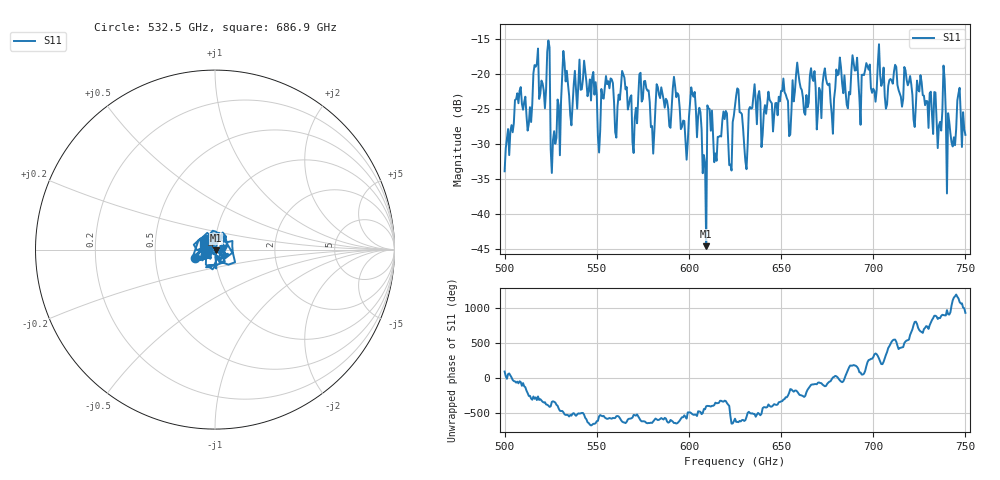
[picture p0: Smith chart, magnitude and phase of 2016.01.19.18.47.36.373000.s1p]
!Created with skrf (http://scikit-rf.org).
# GHz S RI R 50.0
!freq ReS11 ImS11
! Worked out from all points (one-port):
!   401 points, 500 GHz to 750 GHz, reference 50 ohm
!   lowest |S11| = -44.6 dB at 609.4 GHz (marker M1), VSWR 1.01, Z = 50.4 - j0.402 ohm
!   |S11| at or under -10 dB: start of sweep to end of sweep
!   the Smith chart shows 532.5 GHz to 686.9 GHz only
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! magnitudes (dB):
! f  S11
! 500 GHz  -33.9
! 507.5 GHz  -24.1
! 513.8 GHz  -24.7
! 516.9 GHz  -18.9
! 523.1 GHz  -16.8
! 526.2 GHz  -29.4
! 531.2 GHz  -20.3
! 548.8 GHz  -22.9
! 551.9 GHz  -28.0
! 562.5 GHz  -23.7
! 570.6 GHz  -26.3
! 574.4 GHz  -23.9
! 580.6 GHz  -31.4
! 583.8 GHz  -22.9
! 593.8 GHz  -22.7
! 598.1 GHz  -29.3
! 602.5 GHz  -23.2
! 608.1 GHz  -31.6
! 609.4 GHz  -44.6
! 611.2 GHz  -25.0
! 622.5 GHz  -32.9
! 625 GHz  -24.5
! 630.6 GHz  -32.5
! 635 GHz  -23.1
! 656.2 GHz  -20.8
! 687.5 GHz  -22.9
! 718.8 GHz  -21.6
! 750 GHz  -28.7
